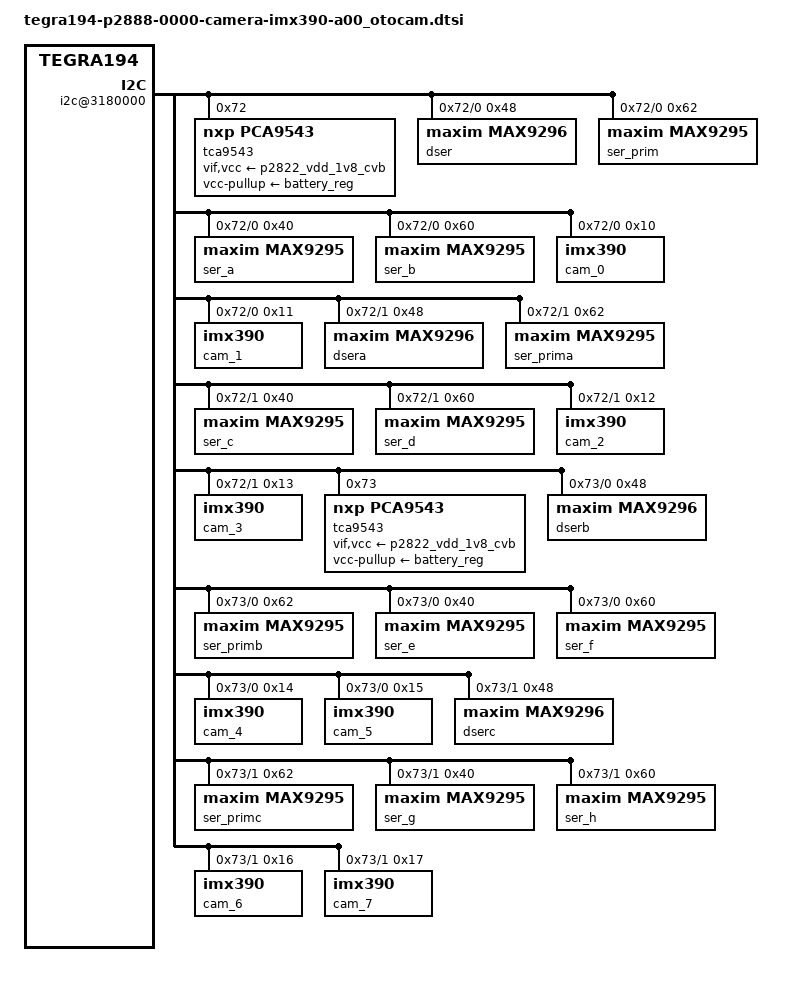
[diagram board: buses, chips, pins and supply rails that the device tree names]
/*
 * Copyright (c) 2018-2021, NVIDIA CORPORATION.  All rights reserved.
 *
 * This program is free software; you can redistribute it and/or modify it
 * under the terms and conditions of the GNU General Public License,
 * version 2, as published by the Free Software Foundation.
 *
 * This program is distributed in the hope it will be useful, but WITHOUT
 * ANY WARRANTY; without even the implied warranty of MERCHANTABILITY or
 * FITNESS FOR A PARTICULAR PURPOSE.  See the GNU General Public License for
 * more details.
 *
 * You should have received a copy of the GNU General Public License
 * along with this program.  If not, see <http://www.gnu.org/licenses/>.
 */
#include <t19x-common-modules/tegra194-camera-imx390-a00_otocam.dtsi>
#include "dt-bindings/clock/tegra194-clock.h"

#define CAM0_RST_L	TEGRA194_MAIN_GPIO(H, 3)
#define CAMERA_I2C_MUX_BUS(x) (0x1E + x)

/* camera control gpio definitions */

/ {
	i2c@3180000 {
		tca9543@72 {
			compatible = "nxp,pca9543";
			reg = <0x72>;
			#address-cells = <1>;
			#size-cells = <0>;
			skip_mux_detect = "yes";
			vif-supply = <&p2822_vdd_1v8_cvb>;
			vcc-supply = <&p2822_vdd_1v8_cvb>;
			vcc-pullup-supply = <&battery_reg>;
			force_bus_start = <CAMERA_I2C_MUX_BUS(0)>;

			i2c@0 {
				reg = <0>;
				i2c-mux,deselect-on-exit;
				#address-cells = <1>;
				#size-cells = <0>;
				dser: max9296@48 {
					compatible = "maxim,max9296";
					streams = "yuv8";
					reg = <0x48>;
					csi-mode = "2x4";
					max-src = <2>;
					fsync-gpio = <6>; //fsync gpio on 9296
					//reset-gpios = <&tegra_main_gpio CAM0_RST_L GPIO_ACTIVE_HIGH>;
				};
				ser_prim: max9295_prim@62 {
					compatible = "maxim,max9295";
					reg = <0x62>;
					is-prim-ser;
				};
				ser_a: max9295_a@40 {
					compatible = "maxim,max9295";
					reg = <0x40>;
					nvidia,gmsl-dser-device = <&dser>;
				};
				ser_b: max9295_b@60 {
					compatible = "maxim,max9295";
					reg = <0x60>;
					nvidia,gmsl-dser-device = <&dser>;
				};
				cam_0: imx390@10 {
					reg = <0x10>;
					reg_mux = <0>;	
					/* Define any required hw resources needed by driver */
					/* ie. clocks, io pins, power sources */
					clocks = <&bpmp_clks TEGRA194_CLK_EXTPERIPH1>,
							<&bpmp_clks TEGRA194_CLK_EXTPERIPH1>;
					clock-names = "extperiph1", "pllp_grtba";
					mclk = "extperiph1";
					nvidia,gmsl-ser-device = <&ser_a>;
					nvidia,gmsl-dser-device = <&dser>;
				};
				cam_1: imx390@11 {
					reg = <0x11>;
					reg_mux = <1>;	
					/* Define any required hw resources needed by driver */
					/* ie. clocks, io pins, power sources */
					clocks = <&bpmp_clks TEGRA194_CLK_EXTPERIPH1>,
							<&bpmp_clks TEGRA194_CLK_EXTPERIPH1>;
					clock-names = "extperiph1", "pllp_grtba";
					mclk = "extperiph1";
					nvidia,gmsl-ser-device = <&ser_b>;
					nvidia,gmsl-dser-device = <&dser>;
				};
			};
			i2c@1 {
				reg = <1>;
				i2c-mux,deselect-on-exit;
				#address-cells = <1>;
				#size-cells = <0>;
				dsera: max9296@48 {
					compatible = "maxim,max9296";
					//streams = "yuv8";
					reg = <0x48>;
					csi-mode = "2x4";
					max-src = <2>;
					//reset-gpios = <&tegra_main_gpio CAM1_PWDN GPIO_ACTIVE_HIGH>;
                                       fsync-gpio = <6>; //fsync gpio on 9296
				};
				ser_prima: max9295_prim@62 {
					compatible = "maxim,max9295";
					//streams = "yuv8";
					reg = <0x62>;
					is-prim-ser;
				};
				ser_c: max9295_a@40 {
					compatible = "maxim,max9295";
					reg = <0x40>;
					nvidia,gmsl-dser-device = <&dsera>;
				};
				ser_d: max9295_b@60 {
					compatible = "maxim,max9295";
					reg = <0x60>;
					nvidia,gmsl-dser-device = <&dsera>;
				};
				cam_2: imx390@12 {
					reg = <0x12>;
					reg_mux = <2>;	
					clocks = <&bpmp_clks TEGRA194_CLK_EXTPERIPH1>,
							<&bpmp_clks TEGRA194_CLK_EXTPERIPH1>;
					clock-names = "extperiph1", "pllp_grtba";
					mclk = "extperiph1";
					nvidia,gmsl-ser-device = <&ser_c>;
					nvidia,gmsl-dser-device = <&dsera>;
				};
				cam_3: imx390@13 {
					reg = <0x13>;
					reg_mux = <3>;	
					clocks = <&bpmp_clks TEGRA194_CLK_EXTPERIPH1>,
							<&bpmp_clks TEGRA194_CLK_EXTPERIPH1>;
					clock-names = "extperiph1", "pllp_grtba";
					mclk = "extperiph1";
					nvidia,gmsl-ser-device = <&ser_d>;
					nvidia,gmsl-dser-device = <&dsera>;
				};
			};

		};
		tca9543@73 {
			compatible = "nxp,pca9543";
			reg = <0x73>;
			#address-cells = <1>;
			#size-cells = <0>;
			skip_mux_detect = "yes";
			vif-supply = <&p2822_vdd_1v8_cvb>;
			vcc-supply = <&p2822_vdd_1v8_cvb>;
			vcc-pullup-supply = <&battery_reg>;
			force_bus_start = <CAMERA_I2C_MUX_BUS(2)>;
			i2c@0 {
				reg = <0>;
				i2c-mux,deselect-on-exit;
				address-cells = <1>;
				#size-cells = <0>;
				dserb: max9296@48 {
					compatible = "maxim,max9296";
					//streams = "yuv8";
					reg = <0x48>;
					csi-mode = "2x4";
					max-src = <2>;
					//reset-gpios = <&tegra_main_gpio CAM2_PWDN GPIO_ACTIVE_HIGH>;
                                       fsync-gpio = <6>; //fsync gpio on 9296
				};
				ser_primb: max9295_prim@62 {
					compatible = "maxim,max9295";
					//streams = "yuv8";
					reg = <0x62>;
					is-prim-ser;
				};
				ser_e: max9295_a@40 {
					compatible = "maxim,max9295";
					reg = <0x40>;
					nvidia,gmsl-dser-device = <&dserb>;
				};
				ser_f: max9295_b@60 {
					compatible = "maxim,max9295";
					reg = <0x60>;
					nvidia,gmsl-dser-device = <&dserb>;
				};
				cam_4: imx390@14 {
					reg = <0x14>;
					reg_mux = <4>;	
					/* Define any required hw resources needed by driver */
					/* ie. clocks, io pins, power sources */
					clocks = <&bpmp_clks TEGRA194_CLK_EXTPERIPH1>,
							<&bpmp_clks TEGRA194_CLK_EXTPERIPH1>;
					clock-names = "extperiph1", "pllp_grtba";
					mclk = "extperiph1";
					nvidia,gmsl-ser-device = <&ser_e>;
					nvidia,gmsl-dser-device = <&dserb>;
				};
				cam_5: imx390@15 {
					reg = <0x15>;
					reg_mux = <5>;	
					/* Define any required hw resources needed by driver */
					/* ie. clocks, io pins, power sources */
					clocks = <&bpmp_clks TEGRA194_CLK_EXTPERIPH1>,
							<&bpmp_clks TEGRA194_CLK_EXTPERIPH1>;
					clock-names = "extperiph1", "pllp_grtba";
					mclk = "extperiph1";
					nvidia,gmsl-ser-device = <&ser_f>;
					nvidia,gmsl-dser-device = <&dserb>;
				};
			};
			i2c@1 {
				reg = <1>;
				i2c-mux,deselect-on-exit;
				#address-cells = <1>;
				#size-cells = <0>;
				dserc: max9296@48 {
					compatible = "maxim,max9296";
					//streams = "yuv8";
					reg = <0x48>;
					csi-mode = "2x4";
					max-src = <2>;
					//reset-gpios = <&tegra_main_gpio CAM3_PWDN GPIO_ACTIVE_HIGH>;
                                       fsync-gpio = <6>; //fsync gpio on 9296
				};
				ser_primc: max9295_prim@62 {
					compatible = "maxim,max9295";
					//streams = "yuv8";
					reg = <0x62>;
					is-prim-ser;
				};
				ser_g: max9295_a@40 {
					compatible = "maxim,max9295";
					reg = <0x40>;
					nvidia,gmsl-dser-device = <&dserc>;
				};
				ser_h: max9295_b@60 {
					compatible = "maxim,max9295";
					reg = <0x60>;
					nvidia,gmsl-dser-device = <&dserc>;
				};
				cam_6: imx390@16 {
					reg = <0x16>;
					reg_mux = <6>;	
					clocks = <&bpmp_clks TEGRA194_CLK_EXTPERIPH1>,
							<&bpmp_clks TEGRA194_CLK_EXTPERIPH1>;
					clock-names = "extperiph1", "pllp_grtba";
					mclk = "extperiph1";
					nvidia,gmsl-ser-device = <&ser_g>;
					nvidia,gmsl-dser-device = <&dserc>;
				};
				cam_7: imx390@17 {
					reg = <0x17>;
					reg_mux = <7>;	
					clocks = <&bpmp_clks TEGRA194_CLK_EXTPERIPH1>,
							<&bpmp_clks TEGRA194_CLK_EXTPERIPH1>;
					clock-names = "extperiph1", "pllp_grtba";
					mclk = "extperiph1";
					nvidia,gmsl-ser-device = <&ser_h>;
					nvidia,gmsl-dser-device = <&dserc>;
				};
			};

		};
	};
};
